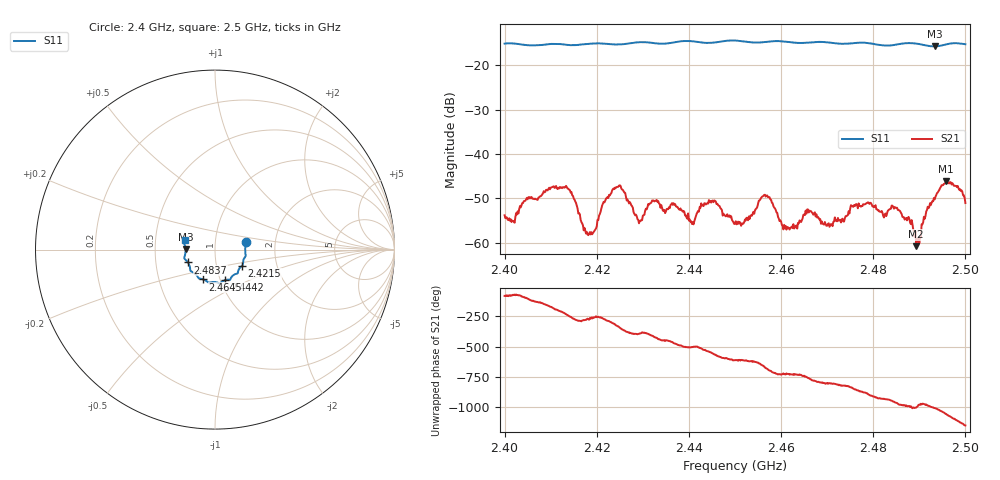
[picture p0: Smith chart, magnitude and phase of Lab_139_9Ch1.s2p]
# Hz S RI R 50
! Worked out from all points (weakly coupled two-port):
!   601 points, 2.4 GHz to 2.5 GHz, reference 50 ohm
!   highest |S21| = -46.15 dB at 2.4958 GHz (marker M1); lowest = -60.8 dB at 2.4893 GHz (marker M2)
!   lowest |S11| = -15.7 dB at 2.4933 GHz (marker M3), VSWR 1.39, Z = 36 + j0.103 ohm
!   |S11| at or under -10 dB: start of sweep to end of sweep
!   S12 and S22 are empty: the file has one direction only
!   S11 on the Smith chart (normalised r, x): 2.4 GHz: 1.41, +0.12; 2.4215 GHz: 1.33, -0.25; 2.4442 GHz: 1.05, -0.37; 2.4645 GHz: 0.83, -0.29; 2.4837 GHz: 0.73, -0.11; 2.5 GHz: 0.71, +0.07
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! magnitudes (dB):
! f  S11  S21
! 2.4 GHz  -15.1  -53.8
! 2.413 GHz  -15.3  -47.6
! 2.4167 GHz  -15.3  -55.4
! 2.4192 GHz  -15.1  -57.9
! 2.4215 GHz  -15.1  -50.8
! 2.425 GHz  -15.3  -47.1
! 2.4293 GHz  -14.8  -55.1
! 2.4333 GHz  -15.1  -50.6
! 2.4407 GHz  -14.6  -55.8
! 2.4442 GHz  -15.0  -51.2
! 2.45 GHz  -14.4  -55.7
! 2.4565 GHz  -14.8  -49.2
! 2.4607 GHz  -14.6  -56.0
! 2.4645 GHz  -15.0  -55.0
! 2.4667 GHz  -14.8  -53.2
! 2.4702 GHz  -14.8  -55.8
! 2.4833 GHz  -15.5  -52.7
! 2.4837 GHz  -15.5  -52.4
! 2.4893 GHz  -15.1  -60.8
! 2.4933 GHz  -15.7  -50.3
! 2.4958 GHz  -15.3  -46.1
! 2.5 GHz  -15.2  -51.1
